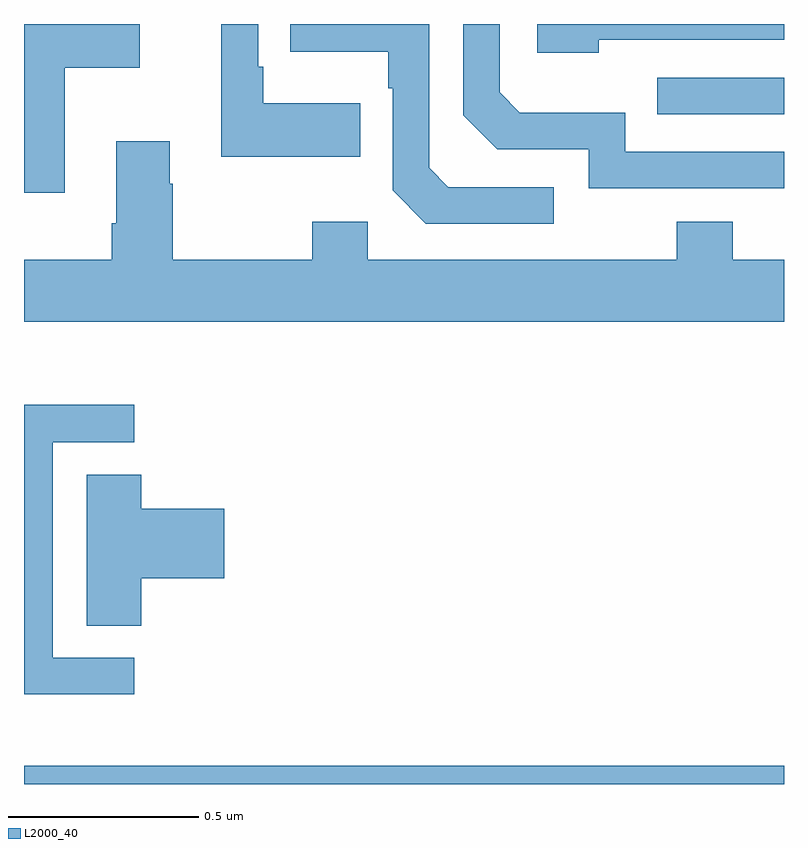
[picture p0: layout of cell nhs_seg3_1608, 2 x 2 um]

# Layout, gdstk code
import gdstk
lib = gdstk.Library(unit=1e-6, precision=1e-09)
def R(c, l, rs):  # rectangles x0, y0, x1, y1
    for r in rs: c.add(gdstk.rectangle(r[:2], r[2:], *l))
def P(c, l, *ps):  # polygons
    for p in ps: c.add(gdstk.Polygon(p, *l))
L2000_40 = (2000, 40)

nhs_seg3_1608 = lib.new_cell('nhs_seg3_1608')
R(nhs_seg3_1608, L2000_40, [(131,666.4,133,666.448), (132.667,668.163,133,668.259)])
P(nhs_seg3_1608, L2000_40, [(131.885,668.191),(131.629,668.191),(131.629,668.287),(131.616,668.287),(131.616,668.4),(131.519,668.4),(131.519,668.051),(131.885,668.051)],
  [(133,668.064),(132.582,668.064),(132.582,668.167),(132.305,668.167),(132.252,668.22),(132.252,668.4),(132.156,668.4),(132.156,668.16),(132.246,668.07),(132.486,668.07),(132.486,667.968),(133,667.968)],
  [(132.512,668.358),(133,668.358),(133,668.4),(132.351,668.4),(132.351,668.324),(132.512,668.324)],
  [(132.394,667.971),(132.117,667.971),(132.066,668.022),(132.066,668.4),(131.701,668.4),(131.701,668.327),(131.958,668.327),(131.958,668.231),(131.97,668.231),(131.97,667.962),(132.057,667.875),(132.394,667.875)],
  [(131.107,668.285),(131.305,668.285),(131.305,668.4),(131,668.4),(131,667.956),(131.107,667.956)],
  [(133,667.78),(132.865,667.78),(132.865,667.879),(132.718,667.879),(132.718,667.78),(131.904,667.78),(131.904,667.879),(131.758,667.879),(131.758,667.78),(131.391,667.78),(131.391,667.979),(131.383,667.979),(131.383,668.092),(131.243,668.092),(131.243,667.876),(131.231,667.876),(131.231,667.78),(131,667.78),(131,667.616),(133,667.616)],
  [(131.29,666.732),(131.076,666.732),(131.076,667.299),(131.29,667.299),(131.29,667.398),(131,667.398),(131,666.636),(131.29,666.636)],
  [(131.309,666.941),(131.527,666.941),(131.527,667.124),(131.309,667.124),(131.309,667.214),(131.165,667.214),(131.165,666.817),(131.309,666.817)])

lib.write_gds('nhs_seg3_1608.gds')
